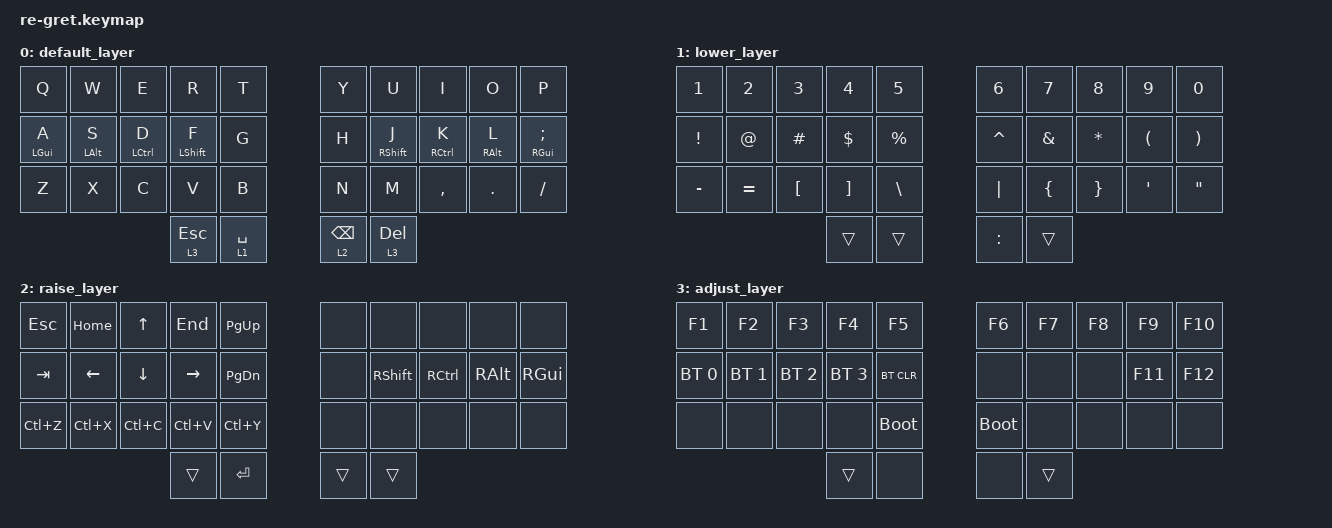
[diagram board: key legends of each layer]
/*
 * Re:gret 34-key Keymap
 * Optimized for Go programming and PostgreSQL work
 */

#include <behaviors.dtsi>
#include <dt-bindings/zmk/keys.h>
#include <dt-bindings/zmk/bt.h>


/ {
    behaviors {
        // Home row mods with balanced timing
        hm: homerow_mods {
            compatible = "zmk,behavior-hold-tap";
            label = "HOMEROW_MODS";
            #binding-cells = <2>;
            tapping-term-ms = <200>;
            quick-tap-ms = <150>;
            flavor = "balanced";
            bindings = <&kp>, <&kp>;
        };
    };

    combos {
        compatible = "zmk,combos";
        
        // Escape: Q + W
        combo_esc {
            timeout-ms = <50>;
            key-positions = <1 2>;
            bindings = <&kp ESC>;
        };
        
        // Tab: A + S (useful for terminal navigation)
        combo_tab {
            timeout-ms = <50>;
            key-positions = <11 12>;
            bindings = <&kp TAB>;
        };
        
        // Enter: L + ;
        combo_enter {
            timeout-ms = <50>;
            key-positions = <18 19>;
            bindings = <&kp ENTER>;
        };
        
        // Backtick: J + K (for SQL queries and markdown)
        combo_grave {
            timeout-ms = <50>;
            key-positions = <16 17>;
            bindings = <&kp GRAVE>;
        };
        
        // Underscore: C + V (common in database names)
        combo_underscore {
            timeout-ms = <50>;
            key-positions = <22 23>;
            bindings = <&kp UNDER>;
        };
    };

    keymap {
        compatible = "zmk,keymap";

        // Layer 0: Base (QWERTY)
        default_layer {
            bindings = <
                // ╭─────────────┬─────────────┬─────────────┬─────────────┬─────────────╮   ╭─────────────┬─────────────┬─────────────┬─────────────┬─────────────╮
                     &kp Q         &kp W         &kp E         &kp R         &kp T             &kp Y         &kp U         &kp I         &kp O         &kp P
                // ├─────────────┼─────────────┼─────────────┼─────────────┼─────────────┤   ├─────────────┼─────────────┼─────────────┼─────────────┼─────────────┤
                     &hm LGUI A    &hm LALT S    &hm LCTRL D   &hm LSHFT F   &kp G             &kp H         &hm RSHFT J   &hm RCTRL K   &hm RALT L    &hm RGUI SEMI
                // ├─────────────┼─────────────┼─────────────┼─────────────┼─────────────┤   ├─────────────┼─────────────┼─────────────┼─────────────┼─────────────┤
                     &kp Z         &kp X         &kp C         &kp V         &kp B             &kp N         &kp M         &kp COMMA     &kp DOT       &kp FSLH
                // ╰─────────────┴─────────────┴─────────────┼─────────────┼─────────────┤   ├─────────────┼─────────────┼─────────────┴─────────────┴─────────────╯
                                                               &lt 3 ESC     &lt 1 SPACE       &lt 2 BSPC    &lt 3 DEL
                //                                           ╰─────────────┴─────────────╯   ╰─────────────┴─────────────╯
            >;
        };

        // Layer 1: Numbers & Symbols (Go/SQL focused)
        lower_layer {
            bindings = <
                // ╭─────────────┬─────────────┬─────────────┬─────────────┬─────────────╮   ╭─────────────┬─────────────┬─────────────┬─────────────┬─────────────╮
                     &kp N1        &kp N2        &kp N3        &kp N4        &kp N5            &kp N6        &kp N7        &kp N8        &kp N9        &kp N0
                // ├─────────────┼─────────────┼─────────────┼─────────────┼─────────────┤   ├─────────────┼─────────────┼─────────────┼─────────────┼─────────────┤
                     &kp EXCL      &kp AT        &kp HASH      &kp DLLR      &kp PRCNT         &kp CARET     &kp AMPS      &kp STAR      &kp LPAR      &kp RPAR
                // ├─────────────┼─────────────┼─────────────┼─────────────┼─────────────┤   ├─────────────┼─────────────┼─────────────┼─────────────┼─────────────┤
                     &kp MINUS     &kp EQUAL     &kp LBKT      &kp RBKT      &kp BSLH          &kp PIPE      &kp LBRC      &kp RBRC      &kp SQT       &kp DQT
                // ╰─────────────┴─────────────┴─────────────┼─────────────┼─────────────┤   ├─────────────┼─────────────┼─────────────┴─────────────┴─────────────╯
                                                               &trans        &trans            &kp COLON     &trans
                //                                           ╰─────────────┴─────────────╯   ╰─────────────┴─────────────╯
            >;
        };

        // Layer 2: Navigation & Editing
        raise_layer {
            bindings = <
                // ╭─────────────┬─────────────┬─────────────┬─────────────┬─────────────╮   ╭─────────────┬─────────────┬─────────────┬─────────────┬─────────────╮
                     &kp ESC       &kp HOME      &kp UP        &kp END       &kp PG_UP         &none         &none         &none         &none         &none
                // ├─────────────┼─────────────┼─────────────┼─────────────┼─────────────┤   ├─────────────┼─────────────┼─────────────┼─────────────┼─────────────┤
                     &kp TAB       &kp LEFT      &kp DOWN      &kp RIGHT     &kp PG_DN         &none         &kp RSHFT     &kp RCTRL     &kp RALT      &kp RGUI
                // ├─────────────┼─────────────┼─────────────┼─────────────┼─────────────┤   ├─────────────┼─────────────┼─────────────┼─────────────┼─────────────┤
                     &kp LC(Z)     &kp LC(X)     &kp LC(C)     &kp LC(V)     &kp LC(Y)         &none         &none         &none         &none         &none
                // ╰─────────────┴─────────────┴─────────────┼─────────────┼─────────────┤   ├─────────────┼─────────────┼─────────────┴─────────────┴─────────────╯
                                                               &trans        &kp ENTER         &trans        &trans
                //                                           ╰─────────────┴─────────────╯   ╰─────────────┴─────────────╯
            >;
        };

        // Layer 3: Function Keys & System
        adjust_layer {
            bindings = <
                // ╭─────────────┬─────────────┬─────────────┬─────────────┬─────────────╮   ╭─────────────┬─────────────┬─────────────┬─────────────┬─────────────╮
                     &kp F1        &kp F2        &kp F3        &kp F4        &kp F5            &kp F6        &kp F7        &kp F8        &kp F9        &kp F10
                // ├─────────────┼─────────────┼─────────────┼─────────────┼─────────────┤   ├─────────────┼─────────────┼─────────────┼─────────────┼─────────────┤
                     &bt BT_SEL 0  &bt BT_SEL 1  &bt BT_SEL 2  &bt BT_SEL 3  &bt BT_CLR        &none         &none         &none         &kp F11       &kp F12
                // ├─────────────┼─────────────┼─────────────┼─────────────┼─────────────┤   ├─────────────┼─────────────┼─────────────┼─────────────┼─────────────┤
                     &none         &none         &none         &none         &bootloader       &bootloader   &none         &none         &none         &none
                // ╰─────────────┴─────────────┴─────────────┼─────────────┼─────────────┤   ├─────────────┼─────────────┼─────────────┴─────────────┴─────────────╯
                                                               &trans        &none             &none         &trans
                //                                           ╰─────────────┴─────────────╯   ╰─────────────┴─────────────╯
            >;
        };
    };
};
